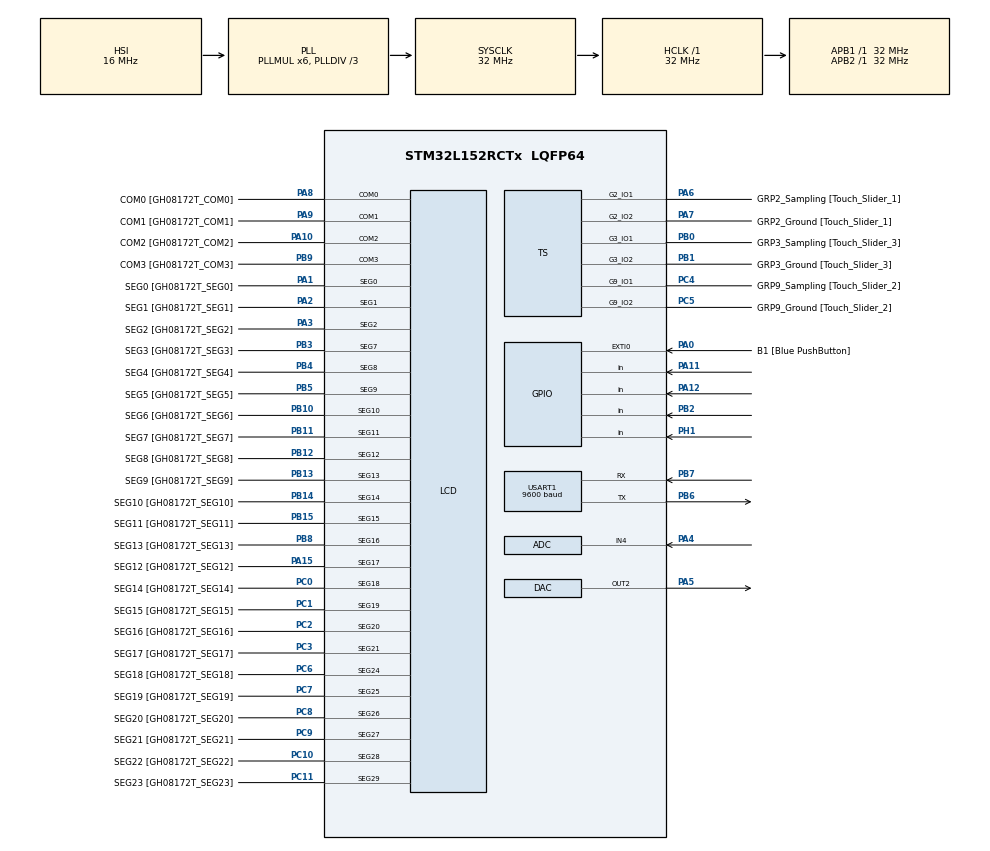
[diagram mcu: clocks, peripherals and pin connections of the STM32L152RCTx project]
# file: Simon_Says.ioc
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ADC.Channel-1\#ChannelRegularConversion=ADC_CHANNEL_4
ADC.NbrOfConversionFlag=1
ADC.Rank-1\#ChannelRegularConversion=1
ADC.SamplingTime-1\#ChannelRegularConversion=ADC_SAMPLETIME_4CYCLES
Mcu.Family=STM32L1
Mcu.Name=STM32L152RCTx
Mcu.Package=LQFP64
NVIC.PriorityGroup=NVIC_PRIORITYGROUP_0
PA0-WKUP1.GPIO_Label=B1 [Blue PushButton]
PA0-WKUP1.GPIO_ModeDefaultEXTI=GPIO_MODE_EVT_RISING
PA0-WKUP1.GPIO_PuPd=GPIO_NOPULL
PA0-WKUP1.Signal=GPXTI0
PA1.GPIO_Label=SEG0 [GH08172T_SEG0]
PA1.GPIO_Mode=GPIO_MODE_AF_PP
PA1.GPIO_PuPd=GPIO_NOPULL
PA1.GPIO_Speed=GPIO_SPEED_FREQ_LOW
PA1.Mode=SEG0
PA1.Signal=LCD_SEG0
PA10.GPIO_Label=COM2 [GH08172T_COM2]
PA10.GPIO_Mode=GPIO_MODE_AF_PP
PA10.GPIO_PuPd=GPIO_NOPULL
PA10.GPIO_Speed=GPIO_SPEED_FREQ_LOW
PA10.Mode=1/4 Duty Cycle
PA10.Signal=LCD_COM2
PA11.GPIO_PuPd=GPIO_PULLUP
PA11.Signal=GPIO_Input
PA12.GPIO_PuPd=GPIO_PULLUP
PA12.Signal=GPIO_Input
PA13.GPIO_Label=SWDIO
PA13.Mode=Serial_Wire
PA13.Signal=SYS_JTMS-SWDIO
PA14.GPIO_Label=SWCLK
PA14.Mode=Serial_Wire
PA14.Signal=SYS_JTCK-SWCLK
PA15.GPIO_Label=SEG12 [GH08172T_SEG12]
PA15.GPIO_Mode=GPIO_MODE_AF_PP
PA15.GPIO_PuPd=GPIO_NOPULL
PA15.GPIO_Speed=GPIO_SPEED_FREQ_LOW
PA15.Mode=SEG17
PA15.Signal=LCD_SEG17
PA2.GPIO_Label=SEG1 [GH08172T_SEG1]
PA2.GPIO_Mode=GPIO_MODE_AF_PP
PA2.GPIO_PuPd=GPIO_NOPULL
PA2.GPIO_Speed=GPIO_SPEED_FREQ_LOW
PA2.Mode=SEG1
PA2.Signal=LCD_SEG1
PA3.GPIO_Label=SEG2 [GH08172T_SEG2]
PA3.GPIO_Mode=GPIO_MODE_AF_PP
PA3.GPIO_PuPd=GPIO_NOPULL
PA3.GPIO_Speed=GPIO_SPEED_FREQ_LOW
PA3.Mode=SEG2
PA3.Signal=LCD_SEG2
PA4.Mode=IN4
PA4.Signal=ADC_IN4
PA5.Signal=COMP_DAC2_group
PA6.GPIO_Label=GRP2_Sampling [Touch_Slider_1]
PA6.Mode=G2_IO1-Sampling
PA6.Signal=TS_G2_IO1
PA7.GPIO_Label=GRP2_Ground [Touch_Slider_1]
PA7.Mode=G2_IO2-Channel
PA7.Signal=TS_G2_IO2
PA8.GPIO_Label=COM0 [GH08172T_COM0]
PA8.GPIO_Mode=GPIO_MODE_AF_PP
PA8.GPIO_PuPd=GPIO_NOPULL
PA8.GPIO_Speed=GPIO_SPEED_FREQ_LOW
PA8.Mode=1/4 Duty Cycle
PA8.Signal=LCD_COM0
PA9.GPIO_Label=COM1 [GH08172T_COM1]
PA9.GPIO_Mode=GPIO_MODE_AF_PP
PA9.GPIO_PuPd=GPIO_NOPULL
PA9.GPIO_Speed=GPIO_SPEED_FREQ_LOW
PA9.Mode=1/4 Duty Cycle
PA9.Signal=LCD_COM1
PB0.GPIO_Label=GRP3_Sampling [Touch_Slider_3]
PB0.Mode=G3_IO1-Sampling
PB0.Signal=TS_G3_IO1
PB1.GPIO_Label=GRP3_Ground [Touch_Slider_3]
PB1.Mode=G3_IO2-Channel
PB1.Signal=TS_G3_IO2
PB10.GPIO_Label=SEG6 [GH08172T_SEG6]
PB10.GPIO_Mode=GPIO_MODE_AF_PP
PB10.GPIO_PuPd=GPIO_NOPULL
PB10.GPIO_Speed=GPIO_SPEED_FREQ_LOW
PB10.Mode=SEG10
PB10.Signal=LCD_SEG10
PB11.GPIO_Label=SEG7 [GH08172T_SEG7]
PB11.GPIO_Mode=GPIO_MODE_AF_PP
PB11.GPIO_PuPd=GPIO_NOPULL
PB11.GPIO_Speed=GPIO_SPEED_FREQ_LOW
PB11.Mode=SEG11
PB11.Signal=LCD_SEG11
PB12.GPIO_Label=SEG8 [GH08172T_SEG8]
PB12.GPIO_Mode=GPIO_MODE_AF_PP
PB12.GPIO_PuPd=GPIO_NOPULL
PB12.GPIO_Speed=GPIO_SPEED_FREQ_LOW
PB12.Mode=SEG12
PB12.Signal=LCD_SEG12
PB13.GPIO_Label=SEG9 [GH08172T_SEG9]
PB13.GPIO_Mode=GPIO_MODE_AF_PP
PB13.GPIO_PuPd=GPIO_NOPULL
PB13.GPIO_Speed=GPIO_SPEED_FREQ_LOW
PB13.Mode=SEG13
PB13.Signal=LCD_SEG13
PB14.GPIO_Label=SEG10 [GH08172T_SEG10]
PB14.GPIO_Mode=GPIO_MODE_AF_PP
PB14.GPIO_PuPd=GPIO_NOPULL
PB14.GPIO_Speed=GPIO_SPEED_FREQ_LOW
PB14.Mode=SEG14
PB14.Signal=LCD_SEG14
PB15.GPIO_Label=SEG11 [GH08172T_SEG11]
PB15.GPIO_Mode=GPIO_MODE_AF_PP
PB15.GPIO_PuPd=GPIO_NOPULL
PB15.GPIO_Speed=GPIO_SPEED_FREQ_LOW
PB15.Mode=SEG15
PB15.Signal=LCD_SEG15
PB2.GPIO_PuPd=GPIO_PULLUP
PB2.Signal=GPIO_Input
PB3.GPIO_Label=SEG3 [GH08172T_SEG3]
PB3.GPIO_Mode=GPIO_MODE_AF_PP
PB3.GPIO_PuPd=GPIO_NOPULL
PB3.GPIO_Speed=GPIO_SPEED_FREQ_LOW
PB3.Mode=SEG7
PB3.Signal=LCD_SEG7
PB4.GPIO_Label=SEG4 [GH08172T_SEG4]
PB4.GPIO_Mode=GPIO_MODE_AF_PP
PB4.GPIO_PuPd=GPIO_NOPULL
PB4.GPIO_Speed=GPIO_SPEED_FREQ_LOW
PB4.Mode=SEG8
PB4.Signal=LCD_SEG8
PB5.GPIO_Label=SEG5 [GH08172T_SEG5]
PB5.GPIO_Mode=GPIO_MODE_AF_PP
PB5.GPIO_PuPd=GPIO_NOPULL
PB5.GPIO_Speed=GPIO_SPEED_FREQ_LOW
PB5.Mode=SEG9
PB5.Signal=LCD_SEG9
PB6.Mode=Asynchronous
PB6.Signal=USART1_TX
PB7.Mode=Asynchronous
PB7.Signal=USART1_RX
PB8.GPIO_Label=SEG13 [GH08172T_SEG13]
PB8.GPIO_Mode=GPIO_MODE_AF_PP
PB8.GPIO_PuPd=GPIO_NOPULL
PB8.GPIO_Speed=GPIO_SPEED_FREQ_LOW
PB8.Mode=SEG16
PB8.Signal=LCD_SEG16
PB9.GPIO_Label=COM3 [GH08172T_COM3]
PB9.GPIO_Mode=GPIO_MODE_AF_PP
PB9.GPIO_PuPd=GPIO_NOPULL
PB9.GPIO_Speed=GPIO_SPEED_FREQ_LOW
PB9.Mode=1/4 Duty Cycle
PB9.Signal=LCD_COM3
PC0.GPIO_Label=SEG14 [GH08172T_SEG14]
PC0.GPIO_Mode=GPIO_MODE_AF_PP
PC0.GPIO_PuPd=GPIO_NOPULL
PC0.GPIO_Speed=GPIO_SPEED_FREQ_LOW
PC0.Mode=SEG18
PC0.Signal=LCD_SEG18
PC1.GPIO_Label=SEG15 [GH08172T_SEG15]
PC1.GPIO_Mode=GPIO_MODE_AF_PP
PC1.GPIO_PuPd=GPIO_NOPULL
PC1.GPIO_Speed=GPIO_SPEED_FREQ_LOW
PC1.Mode=SEG19
PC1.Signal=LCD_SEG19
PC10.GPIO_Label=SEG22 [GH08172T_SEG22]
PC10.GPIO_Mode=GPIO_MODE_AF_PP
PC10.GPIO_PuPd=GPIO_NOPULL
PC10.GPIO_Speed=GPIO_SPEED_FREQ_LOW
PC10.Mode=SEG28
PC10.Signal=LCD_SEG28
PC11.GPIO_Label=SEG23 [GH08172T_SEG23]
PC11.GPIO_Mode=GPIO_MODE_AF_PP
PC11.GPIO_PuPd=GPIO_NOPULL
PC11.GPIO_Speed=GPIO_SPEED_FREQ_LOW
PC11.Mode=SEG29
PC11.Signal=LCD_SEG29
PC14-OSC32_IN.GPIO_Label=PC14-OSC32_IN
PC14-OSC32_IN.Mode=LSE-External-Oscillator
PC14-OSC32_IN.Signal=RCC_OSC32_IN
PC15-OSC32_OUT.GPIO_Label=PC15-OSC32_OUT
PC15-OSC32_OUT.Mode=LSE-External-Oscillator
PC15-OSC32_OUT.Signal=RCC_OSC32_OUT
PC2.GPIO_Label=SEG16 [GH08172T_SEG16]
PC2.GPIO_Mode=GPIO_MODE_AF_PP
PC2.GPIO_PuPd=GPIO_NOPULL
PC2.GPIO_Speed=GPIO_SPEED_FREQ_LOW
PC2.Mode=SEG20
PC2.Signal=LCD_SEG20
PC3.GPIO_Label=SEG17 [GH08172T_SEG17]
PC3.GPIO_Mode=GPIO_MODE_AF_PP
PC3.GPIO_PuPd=GPIO_NOPULL
PC3.GPIO_Speed=GPIO_SPEED_FREQ_LOW
PC3.Mode=SEG21
PC3.Signal=LCD_SEG21
PC4.GPIO_Label=GRP9_Sampling [Touch_Slider_2]
PC4.Mode=G9_IO1-Sampling
PC4.Signal=TS_G9_IO1
PC5.GPIO_Label=GRP9_Ground [Touch_Slider_2]
PC5.Mode=G9_IO2-Channel
PC5.Signal=TS_G9_IO2
PC6.GPIO_Label=SEG18 [GH08172T_SEG18]
PC6.GPIO_Mode=GPIO_MODE_AF_PP
PC6.GPIO_PuPd=GPIO_NOPULL
PC6.GPIO_Speed=GPIO_SPEED_FREQ_LOW
PC6.Mode=SEG24
PC6.Signal=LCD_SEG24
PC7.GPIO_Label=SEG19 [GH08172T_SEG19]
PC7.GPIO_Mode=GPIO_MODE_AF_PP
PC7.GPIO_PuPd=GPIO_NOPULL
PC7.GPIO_Speed=GPIO_SPEED_FREQ_LOW
PC7.Mode=SEG25
PC7.Signal=LCD_SEG25
PC8.GPIO_Label=SEG20 [GH08172T_SEG20]
PC8.GPIO_Mode=GPIO_MODE_AF_PP
PC8.GPIO_PuPd=GPIO_NOPULL
PC8.GPIO_Speed=GPIO_SPEED_FREQ_LOW
PC8.Mode=SEG26
PC8.Signal=LCD_SEG26
PC9.GPIO_Label=SEG21 [GH08172T_SEG21]
PC9.GPIO_Mode=GPIO_MODE_AF_PP
PC9.GPIO_PuPd=GPIO_NOPULL
PC9.GPIO_Speed=GPIO_SPEED_FREQ_LOW
PC9.Mode=SEG27
PC9.Signal=LCD_SEG27
PH1-OSC_OUT.GPIO_Mode=GPIO_MODE_INPUT
PH1-OSC_OUT.GPIO_PuPd=GPIO_PULLUP
PH1-OSC_OUT.Signal=GPIO_Input
ProjectManager.HeapSize=0x200
ProjectManager.StackSize=0x400
ProjectManager.TargetToolchain=STM32CubeIDE
RCC.48MHZClocksFreq_Value=48000000
RCC.AHBFreq_Value=32000000
RCC.APB1Freq_Value=32000000
RCC.APB1TimFreq_Value=32000000
RCC.APB2Freq_Value=32000000
RCC.APB2TimFreq_Value=32000000
RCC.HCLKFreq_Value=32000000
RCC.HSE_VALUE=8000000
RCC.HSI_VALUE=16000000
RCC.MSI_VALUE=2097000
RCC.PLLDIV=RCC_PLL_DIV3
RCC.PLLMUL=RCC_PLL_MUL6
RCC.RTCClockSelectionVirtual=RCC_RTCCLKSOURCE_LSE
RCC.SYSCLKFreq_VALUE=32000000
RCC.SYSCLKSource=RCC_SYSCLKSOURCE_PLLCLK
RCC.USBOutput=48000000
RCC.VCOOutputFreq_Value=96000000
SH.COMP_DAC2_group.0=DAC_OUT2,DAC_OUT2
USART1.BaudRate=9600
USART1.VirtualMode=VM_ASYNC
VP_TIM2_VS_ClockSourceINT.Mode=Internal
VP_TIM3_VS_ClockSourceINT.Mode=Internal
VP_TIM4_VS_ClockSourceINT.Mode=Internal
board=STM32L152C-DISCO

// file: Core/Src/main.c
/* USER CODE BEGIN Header */
/**
  ******************************************************************************
  * @file           : main.c
  * @brief          : Main program body
  ******************************************************************************
  * @attention
  *
  * <h2><center>&copy; Copyright (c) 2021 STMicroelectronics.
  * All rights reserved.</center></h2>
  *
  * This software component is licensed by ST under BSD 3-Clause license,
  * the "License"; You may not use this file except in compliance with the
  * License. You may obtain a copy of the License at:
  *                        opensource.org/licenses/BSD-3-Clause
  *
  ******************************************************************************
  */
/* USER CODE END Header */
#include "main.h"

/* USER CODE BEGIN Includes */

#include "stm32l152c_discovery.h"
#include "stm32l152c_discovery_glass_lcd.h"

/* USER CODE END Includes */

ADC_HandleTypeDef hadc;

DAC_HandleTypeDef hdac;

LCD_HandleTypeDef hlcd;

TIM_HandleTypeDef htim2;
TIM_HandleTypeDef htim3;
TIM_HandleTypeDef htim4;

UART_HandleTypeDef huart1;

/* USER CODE BEGIN PV */

//Calculate the periods of the notes with 1/f, f being the frequency given in the guide :

#define DO 382
#define RE 341
#define MI 304
#define FA 286

#define CORRECTO 100
#define INCORRECTO 1000

unsigned short tiempo = 500; //The time we want each digit of the displayed sequence to last //500, meaning 0.5 seconds
unsigned short secuencia=0;//To control the ISR of TIM4
unsigned short seno[16] = {2048,2831,3495,3939,4095,3939,3495,2831,2048,1264,600,156,0,156,600,1264}; //The sine signal for the DAC
//The values of the sine array where from https://www.daycounter.com/Calculators/Sine-Generator-Calculator.phtml
int i = 0; //To go through the sine signal

/* USER CODE END PV */

void SystemClock_Config(void);
static void MX_GPIO_Init(void);
static void MX_ADC_Init(void);
static void MX_LCD_Init(void);
static void MX_TS_Init(void);
static void MX_TIM2_Init(void);
static void MX_TIM4_Init(void);
static void MX_TIM3_Init(void);
static void MX_USART1_UART_Init(void);
static void MX_DAC_Init(void);

/* USER CODE BEGIN 0 */

void TIM4_IRQHandler(void) {
	if ((TIM4->SR & 0x0002)!=0){ // If the comparison is successful, then the IRQ is launched and this ISR is executed.
		secuencia++; // Increase in 1 the sequence
		TIM4->CCR1 += tiempo;	// Update the comparison value, adding 500 steps = 0.5 seconds
		TIM4->SR = 0x0000;	// Clear all flags
	}
}

void TIM3_IRQHandler(void){
  if((TIM3->SR & 0x0002 )!=0) // If the comparison is successful, then the IRQ is launched and this ISR is executed.
    {
      TIM3->SR=0; // Clear all flags
      if(i<16){ //We go over the sine array and get it through the DAC
        DAC->DHR12R2  = seno[i];
        i++;
      }
      if(i ==16) {
        i=0;
      }
    }
}

//this is a function to wait the given time, we use it to delay some operation in order to give the board time to "catch up"
//we also use it to display the win/wrong the time we want as well as the level we are in
void espera(int tiempo) {
	int i;
	for (i=0; i<tiempo; i++);
}

/* USER CODE END 0 */

int main(void)
{

  /* MCU Configuration--------------------------------------------------------*/

  /* Reset of all peripherals, Initializes the Flash interface and the Systick. */
  HAL_Init();

  /* Configure the system clock */
  SystemClock_Config();

  /* Initialize all configured peripherals */
  MX_GPIO_Init();
  MX_ADC_Init();
  MX_LCD_Init();
  MX_TS_Init();
  MX_TIM2_Init();
  MX_TIM4_Init();
  MX_TIM3_Init();
  MX_USART1_UART_Init();
  MX_DAC_Init();
  /* USER CODE BEGIN 2 */

  //Variables

  unsigned short value; //Stores the value read from the potentiometer
  unsigned short level = 0; //Stores the level of difficulty we are playing depending on "value"
  unsigned short display[6]; //Stores the sequence we create using the random function. It's of length 6 because that's the longer sequence possible
  int num_display = 0; //Stores the number of time we've reproduced the sequence
  int num_items = 0; //Manages how many items of the sequence we reproduce each time, to reproduce the sequence gradually
  unsigned char secuencia_ant = 0; //Helps manage the timer 4
  unsigned short current_display; //Stores the item of "display" we are displaying currently
  unsigned short num_buttons_press = 0; //Stores how many buttons have been pressed
  int incorrect; //Stores if the player press the wrong button
  char USART_display[72] = "\rGAMES PLAYED: 00 | PLAYS WON: 00 | PLAYS LOSE: 00 | PLAYS ABANDONED: 00"; //To display the USAR info
  char abandon = '0';//Is set to '1' when a game is started and only change to '0' if the player loses or wins
  char game_ant; //Stores the value of each of the game variables before being update in order to be able to count up to 99 and not just 9, due to ASCII

  BSP_LCD_GLASS_Init();
  BSP_LCD_GLASS_BarLevelConfig(0);
  BSP_LCD_GLASS_Clear();

  // USER button configuration (PA0)
  // PA0 as digital input(00)
  GPIOA->MODER &= ~(1 << (0*2 +1));
  GPIOA->MODER &= ~(1 << (0*2));

  // button1 configuration (PA11)
  // PA11 as digital input(00) with pull-up
  GPIOA->MODER &= ~(1 << (11*2 +1));
  GPIOA->MODER &= ~(1 << (11*2));

  // button2 configuration (PA12)
  // PA12 as digital input(00) with pull-up
  GPIOA->MODER &= ~(1 << (12*2 +1));
  GPIOA->MODER &= ~(1 << (12*2));

  // button3 configuration (PB2)
  // PB2 as digital input(00) with pull-up
  GPIOB->MODER &= ~(1 << (2*2 +1));
  GPIOB->MODER &= ~(1 << (2*2));

  // button4 configuration (PH1)
  //PH1 as digital input(00) with pull-up
  GPIOB->MODER &= ~(1 << (1*2 +1));
  GPIOB->MODER &= ~(1 << (1*2));

  // ADC configuration
  GPIOA->MODER |= 0x00000300;	// PA4 as analog
  ADC1->CR2 &= ~(0x00000001);	// ADON = 0 (ADC powered off)
  ADC1->CR1 = 0x00000000;	// OVRIE = 0 (Overrun IRQ disabled)
  // RES = 00 (resolution = 12 bits)
  // SCAN = 0 (scan mode disabled)
  // EOCIE = 0 (EOC IRQ disabled)
  ADC1->CR2 = 0x00000400;	// EOCS = 1 (EOC to be activated after each conversion)
  // DELS = 000 (no delay)
  // CONT = 0 (single conversion)
  ADC1->SQR1 = 0x00000000;	// 1 channel in the sequence
  ADC1->SQR5 = 0x00000004;	// Channel is AIN4
  ADC1->CR2 |= 0x00000001;	// ADON = 1 (ADC powered on)

  // TIM4 configuration, this one is to display the sequence 0.5 seconds
  TIM4->CR1 = 0x0000; // ARPE = 0 -> No PWM, it is TOC
  // CEN = 0; Counter OFF
  TIM4->CR2 = 0x0000; // Always "0" in this course
  TIM4->SMCR = 0x0000; // Always "0" in this course
  // Counter behaviour setting: PSC, CNT, ARR and CCRx
  TIM4->PSC = 31999;	// Pre-scaler=32000 -> F_counter=32000000/32000 = 1000 steps/second
  TIM4->CNT = 0;	// Initialize the counter to 0
  TIM4->ARR = 0xFFFF; // Recommended value = FFFF
  TIM4->CCR1 = tiempo;	// Record that stores the value for the comparison.
  // It is initialized to the first value = 500 steps = 0.5 seconds
  // Selecting IRQ or not: DIER
  TIM4->DIER = 0x0002; // An IRQ is generated as the comparison is successful -> CCyIE = 1
  //Output
  TIM4->CCMR1 = 0x0000; // CCyS = 0	(TOC)
  // OCyM = 000 (no external output)
  // OCyPE = 0 (no pre-load)
  TIM4->CCER = 0x0000;	// CCyP = 0	(always in TOC)
  // CCyE = 0	(external output disabled)
  // Counter enabling
  TIM4->CR1 |= 0x0001;	// CEN = 1 -> Start counter
  TIM4->EGR |= 0x0001;	// UG = 1 -> Generate an update event to update all registers
  TIM4->SR = 0;	// Clear counter flags
  // Enabling TIM4_IRQ at NVIC (position 30).
  NVIC->ISER[0] |= (1 << 30);

  /*//Configuration of TIM2: SOUNDS WITHOUT DAC

  //TIM2 configuration
  GPIOA->MODER &= ~(0x00000400);	//PA5 set to 0
  GPIOA->AFR[0] |=0x00100000; //PA5 as TIM2 (AF1-0001)
  TIM2->CR1 = 0x0080;  // ARPE = 0 -> Is TOC
  // CEN = 0; Counter off
  TIM2->CR2 = 0x0000;
  TIM2->SMCR = 0x0000;
  TIM2->PSC = 319; // Pre-scalated= 320 (PSC = Pre-scalated - 1)
  //-> F_conunter = 32000000/320 = 100000 steps/seconds
  TIM2->CNT = 0; // Initialize the value of the counter to 0
  TIM2->ARR = 383;//FFFF, highest note DO =382
  TIM2->CCR1 = 191;// ARR/2
  TIM2->DIER = 0x0000;
  TIM2->CCMR1 = 0x0068; // CCyS = 0 (TOC, PWM)
  TIM2->CCER = 0x0001;
  TIM2->EGR |= 0x0001;
  TIM2->SR = 0; 		// Clear all flags
*/

  // DAC Configuration
  GPIOA->MODER |= 0x00000C00;       // PA5 as analogsignal
  DAC->CR = 0x00010000;             // Configuration and enabling of DAC number 2

  //This one is for the DAC signal
  TIM3->CR1 = 0x0000;  // ARPE = 0 -> Is TOC
  // CEN = 0; Counter off
  TIM3->CR2 = 0x0000;
  TIM3->SMCR = 0x0000;
  TIM3->PSC = 319; // Pre-scalated= 320 (PSC = Pre-scalated - 1)
  //-> F_conunter = 32000000/320 = 100000 steps/seconds
  TIM3->CNT = 0; // Initialize the value of the counter to 0
  TIM3->ARR = 0xFFFF;//FFFF
  TIM3->DIER = 0x0001;
  TIM3->CCMR1 = 0x0068; // CCyS = 0 (TOC, PWM)
  TIM3->CCER = 0x0001;
  TIM3->EGR |= 0x0001;
  TIM3->SR = 0;     // Clear all flags
  NVIC->ISER[0] |= (1<<29);

  /* USER CODE END 2 */

  /* Infinite loop */
  /* USER CODE BEGIN WHILE */
  while (1){

    //While the board is on, if we press any of the color buttons its sound is reproduced and its color is displayed in the LCD
    //Until we press the USER that starts the game
    //This is done in case the player wants to familiarize with the sounds/buttons

/*//To reproduce without DAC
	  if ((GPIOA->IDR&0x0800)==0) { // If PA11 = 0 (button1 pressed)
		  BSP_LCD_GLASS_Clear();
		  BSP_LCD_GLASS_DisplayString((uint8_t *)" WHITE");
		  TIM2->ARR = MI;
		  TIM2->CCR1 = MI/2;
		  TIM2->CR1 |= 0x0001;
		  while ((GPIOA->IDR&0x0800)==0) { }
		  TIM2->SR = 0; // Clear all flags
		  TIM2->CR1 &=~ (0x0001);// CEN = 0 -> Deactivate the counter
		  TIM2->CNT = 0; // Set the value of the counter to 0
		  BSP_LCD_GLASS_Clear();
	  }
	  if ((GPIOA->IDR&0x1000)==0) { // If PA12 = 0 (button2 pressed)
		  BSP_LCD_GLASS_Clear();
		  BSP_LCD_GLASS_DisplayString((uint8_t *)" GREEN");
		  TIM2->ARR = FA;
		  TIM2->CCR1 = FA/2;
		  TIM2->CR1 |= 0x0001;
		  while ((GPIOA->IDR&0x1000)==0) { }
		  TIM2->SR = 0; // Clear all flags
		  TIM2->CR1 &=~ (0x0001); // CEN = 0 -> Deactivate the counter
		  TIM2->CNT = 0; // Set the value of the counter to 0
		  BSP_LCD_GLASS_Clear();
	 }
	 if ((GPIOB->IDR&0x0004)==0) { // If PB2 = 0 (button3 pressed)
	    BSP_LCD_GLASS_Clear();
	    BSP_LCD_GLASS_DisplayString((uint8_t *)" BLUE");
	    TIM2->ARR = RE;
	    TIM2->CCR1 = RE/2;
	    TIM2->CR1 |= 0x0001;
	    while ((GPIOB->IDR&0x0004)==0) { }
	    TIM2->SR = 0; // Clear all flags
	    TIM2->CR1 &=~ (0x0001);// CEN = 0 -> Deactivate the counter
	    TIM2->CNT = 0; // Set the value of the counter to 0
	    BSP_LCD_GLASS_Clear();
	 }
	 if ((GPIOH->IDR&0x0002)==0) { // If PH1 = 0 (button4 pressed)
	    BSP_LCD_GLASS_Clear();
	    BSP_LCD_GLASS_DisplayString((uint8_t *)" RED");
	    TIM2->ARR = DO;
	    TIM2->CCR1 = DO/2;
	    TIM2->CR1 |= 0x0001;
	    while ((GPIOH->IDR&0x0002)==0) { }
	    TIM2->SR = 0; // Clear all flags
	    TIM2->CR1 &=~ (0x0001);// CEN = 0 -> Deactivate the counter
	    TIM2->CNT = 0; // Set the value of the counter to 0
	    BSP_LCD_GLASS_Clear();
	 }
*/

    if ((GPIOA->IDR&0x0800)==0) { // If PA11 = 0 (button1 pressed)
      BSP_LCD_GLASS_Clear();
      BSP_LCD_GLASS_DisplayString((uint8_t *)" WHITE");
      TIM3->ARR = MI/16;
      TIM3->CR1 |= 0x0001;
      TIM3->SR=1;
      while ((GPIOA->IDR&0x0800)==0) { }
      TIM3->SR = 0; // Clear all flags
      TIM3->CR1 &=~ (0x0001);// CEN = 0 -> Deactivate the counter
      TIM3->CNT = 0; // Set the value of the counter to 0
      BSP_LCD_GLASS_Clear();
    }
    if ((GPIOA->IDR&0x1000)==0) { // If PA12 = 0 (button2 pressed)
      BSP_LCD_GLASS_Clear();
      BSP_LCD_GLASS_DisplayString((uint8_t *)" GREEN");
      TIM3->ARR = FA/16;
      TIM3->CR1 |= 0x0001;
      TIM3->SR=1;
      while ((GPIOA->IDR&0x1000)==0) { }
      TIM3->SR = 0; // Clear all flags
      TIM3->CR1 &=~ (0x0001); // CEN = 0 -> Deactivate the counter
      TIM3->CNT = 0; // Set the value of the counter to 0
      BSP_LCD_GLASS_Clear();
   }
   if ((GPIOB->IDR&0x0004)==0) { // If PB2 = 0 (button3 pressed)
      BSP_LCD_GLASS_Clear();
      BSP_LCD_GLASS_DisplayString((uint8_t *)" BLUE");
      TIM3->ARR = RE/16;
      TIM3->CR1 |= 0x0001;
      TIM3->SR=1;
      while ((GPIOB->IDR&0x0004)==0) { }
      TIM3->SR = 0; // Clear all flags
      TIM3->CR1 &=~ (0x0001);// CEN = 0 -> Deactivate the counter
      TIM3->CNT = 0; // Set the value of the counter to 0
      BSP_LCD_GLASS_Clear();
   }
   if ((GPIOH->IDR&0x0002)==0) { // If PH1 = 0 (button4 pressed)
      BSP_LCD_GLASS_Clear();
      BSP_LCD_GLASS_DisplayString((uint8_t *)" RED");
      TIM3->ARR = DO/16;
      TIM3->CR1 |= 0x0001;
      TIM3->SR=1;
      while ((GPIOH->IDR&0x0002)==0) { }
      TIM3->SR = 0; // Clear all flags
      TIM3->CR1 &=~ (0x0001);// CEN = 0 -> Deactivate the counter
      TIM3->CNT = 0; // Set the value of the counter to 0
      BSP_LCD_GLASS_Clear();
   }

	 //Once we press the USER button, the game really starts

	 if ((GPIOA->IDR&0x00000001)!=0) { // If PA0 = 1 (USER pressed)
	   //First of all, we configure the USART transmission. The maximum number it stores is 99
	   //We update the number of times the player has played, with an if-else sentence to be able to get numbers up to 99
	   game_ant = USART_display[16];
	   if(game_ant == '9'){
	     USART_display[15]++;
	     USART_display[16]='0';
	   }
	   else{
	     USART_display[16]++;
	   }
	   //We update the number of times the player has played
	   game_ant = USART_display[71];
	   if(abandon == '1'){ //If abandon didn't change from '1', it means the player didn't finish the game
	     if(game_ant == '9'){
	       USART_display[70]++;
	       USART_display[71]='0';
	     }
	     else{
	       USART_display[71]++;
	     }
	   }
	   HAL_UART_Transmit(&huart1, (uint8_t*)USART_display, 72, 10000);//We transmit the updated info

	   //Then, we read from the value of the potentiometer and store it in the variable value
	    while ((GPIOA->IDR&0x00000001)!=0) { // If PA0 = 1 (USER pressed),
	     //We wait to avoid rebounds
	     espera(70000);
	    }
		  // Start conversion
		  while ((ADC1->SR&0x0040)==0); // While ADONS = 0, i.e., ADC is not ready
		  // to convert, I wait
		  ADC1->CR2 |= 0x40000000; // When ADONS = 1, I start conversion (SWSTART = 1)
		  // Wait till conversion is finished
		  while ((ADC1->SR&0x0002)==0); // If EOC = 0, i.e., the conversion is not finished, I wait
		  value = ADC1->DR; // When EOC = 1, I take the result and store it in a variable called value

		  //Depending on the value of said variable, the player will chose the level (that varies the sequence duration)
		  if (value>3069 && value<=4100){ //If it has a value between 4100 (its maximum more or less, as the potentiometer value are very unstable we rounded the number to avoid errors) and 3070,
		                                  //the chosen level is 1, meaning the sequence is 3 items long
			 level = 3;
			 BSP_LCD_GLASS_Clear();
			 BSP_LCD_GLASS_DisplayString((uint8_t *)" LV 1"); //The LCD displays the level for 0.5 seconds
			 espera(2500000);
			 BSP_LCD_GLASS_Clear();
		  }
		  if (value>2046 && value<=3069){ //If it has a value between 3069 and 2047 the chosen level is 2, meaning the sequence will be 4 items long
		   level = 4;
		   BSP_LCD_GLASS_Clear();
			 BSP_LCD_GLASS_DisplayString((uint8_t *)" LV 2");
			 espera(2500000);
			 BSP_LCD_GLASS_Clear();
		  }
		  if (value>1023 && value<=2046){ //If it has a value between 2046 and 1024 the chosen level is 3, meaning the sequence will be 5 items long
		   level = 5;
		   BSP_LCD_GLASS_Clear();
			 BSP_LCD_GLASS_DisplayString((uint8_t *)" LV 3");
			 espera(2500000);
			 BSP_LCD_GLASS_Clear();
		  }
		  if (value>=0000 && value<=1023){ //If it has a value between 1024 and 0 the chosen level is 4, meaning the sequence will be 6 items long
			 level = 6;
			 BSP_LCD_GLASS_Clear();
			 BSP_LCD_GLASS_DisplayString((uint8_t *)" LV 4");
			 espera(2500000);
			 BSP_LCD_GLASS_Clear();
		  }

		  //Each time USER is pressed we re-initialize the variables that manage the game:
		  num_display = 0;
		  num_items = 0;
		  incorrect = 0;
		  abandon = '1';
	  }

	  //Generate random numbers between 0 and 3, to store in an array
	  //The array will be as long as the sequence we chose (read from the potentiometer), although it's default value is 6 (the longest possible sequence)
	  for(int j=0; j<level;j++){
		  unsigned short sequence = rand() % 4;
		  display[j]=sequence;
	  }

	  //Now this is the code of the game itself after we've selected and displayed the value

	  while(num_display<level && (GPIOA->IDR&0x00000001)==0){ //This is executed until the whole sequence has been reproduced, or until we press the user button to re-initialize the game
		  while(num_items<num_display+1){ //With this while we reproduce the sequence gradually, first the item 1, and i we press the correct button then item 1 + the next, if we press the correct buttons,
		                          //the previous items plus one more are reproduced, and so on until we press a wrong button or the sequence is complete
			  if (secuencia_ant != secuencia) {	// If the ISR has changed the sequence
				  secuencia_ant = secuencia;	// Store new sequence to be used next time
				  current_display=display[num_items]; //We store in current display the item we want to reproduce and we go upgrading it each time the button(s) are pressed correctly
				  num_buttons_press = 0; //We re-set the number of buttons pressed to 0
				  //Now for each of the random values we reproduce it's sound and display it's color
				  if(current_display == 0){
					  TIM3->ARR = MI/16;
					  TIM3->CR1 |= 0x0001;
					  TIM3->SR=1;
					  BSP_LCD_GLASS_Clear();
					  BSP_LCD_GLASS_DisplayString((uint8_t *)" WHITE");
				  }
				  if(current_display == 1){
					  TIM3->ARR = FA/16;
					  TIM3->CR1 |= 0x0001;
					  TIM3->SR=1;
					  BSP_LCD_GLASS_Clear();
					  BSP_LCD_GLASS_DisplayString((uint8_t *)" GREEN");
				  }
				  if(current_display == 2){
					  TIM3->ARR = RE/16;
					  TIM3->CR1 |= 0x0001;
					  TIM3->SR=1;
					  BSP_LCD_GLASS_Clear();
					  BSP_LCD_GLASS_DisplayString((uint8_t *)" BLUE");
				  }
				  if(current_display == 3){
					  TIM3->ARR = DO/16;
					  TIM3->CR1 |= 0x0001;
					  TIM3->SR=1;
					  BSP_LCD_GLASS_Clear();
					  BSP_LCD_GLASS_DisplayString((uint8_t *)" RED");
				  }
				  TIM3->SR = 0;// Clear all flags
				  TIM3->CR1 &=~ (0x0001);// CEN = 0 -> Deactivate the counter
				  TIM3->CNT = 0; // Set the value of the counter to 0
				  if (num_items==num_display){//To clean the LCD once we've displayed the last digit of the sequence
					  espera(1250000); //We wait (only 0.25s) because if not the last digit isn't displayed quite well
					  BSP_LCD_GLASS_Clear();
				  }
				  num_items++;
			  }//End of if that manages the timer
		  }//End of while that reproduces gradually the sequence

		  //Now, for each button pressed we display its sound and color, for as long as the button is pressed
		  //We also upgrade the number of buttons pressed each time one is
		  //We check if with the array that stores the sequence if the button pressed is correct, if it is not we upgrade the "incorrect" variable

		  if ((GPIOA->IDR&0x0800)==0) { // If PA11 = 0 (button1 pressed)
			  BSP_LCD_GLASS_Clear();
			  BSP_LCD_GLASS_DisplayString((uint8_t *)" WHITE");
			  TIM3->ARR = MI/16;
			  TIM3->CR1 |= 0x0001;
			  TIM3->SR=1;
			  while ((GPIOA->IDR&0x0800)==0) { }
			  TIM3->SR = 0; // Clear all flags
			  TIM3->CR1 &=~ (0x0001);// CEN = 0 -> Deactivate the counter
			  TIM3->CNT = 0; // Set the value of the counter to 0
			  BSP_LCD_GLASS_Clear();
			  num_buttons_press += 1;
		  	  if (0 != display[num_buttons_press-1]){
		  		  incorrect += 1;
		  	  }
		  }
		  if ((GPIOA->IDR&0x1000)==0) { // If PA12 = 0 (button2 pressed)
			  BSP_LCD_GLASS_Clear();
			  BSP_LCD_GLASS_DisplayString((uint8_t *)" GREEN");
			  TIM3->ARR = FA/16;
			  TIM3->CR1 |= 0x0001;
			  TIM3->SR=1;
			  while ((GPIOA->IDR&0x1000)==0) { }
			  TIM3->SR = 0; // Clear all flags
			  TIM3->CR1 &=~ (0x0001);// CEN = 0 -> Deactivate the counter
			  TIM3->CNT = 0; // Set the value of the counter to 0
			  BSP_LCD_GLASS_Clear();
			  num_buttons_press += 1;
		  	  if (1 != display[num_buttons_press-1]){
		  		  incorrect += 1;
		  	  }
		  }
		  if ((GPIOB->IDR&0x0004)==0) { // If PB2 = 0 (button3 pressed)
		    BSP_LCD_GLASS_Clear();
		    BSP_LCD_GLASS_DisplayString((uint8_t *)" BLUE");
		    TIM3->ARR = RE/16;
		    TIM3->CR1 |= 0x0001;
		    TIM3->SR=1;
		    while ((GPIOB->IDR&0x0004)==0) { }
			  TIM3->SR = 0; // Clear all flags
			  TIM3->CR1 &=~ (0x0001);// CEN = 0 -> Deactivate the counter
			  TIM3->CNT = 0; // Set the value of the counter to 0
			  BSP_LCD_GLASS_Clear();
			  num_buttons_press += 1;
			  if (2 != display[num_buttons_press-1]){
			    incorrect += 1;
			  }
		  }
		  if ((GPIOH->IDR&0x0002)==0) { // If PH1 = 0 (button4 pressed)
		  	 BSP_LCD_GLASS_Clear();
		  	 BSP_LCD_GLASS_DisplayString((uint8_t *)" RED");
		  	 TIM3->ARR = DO/16;
		  	 TIM3->CR1 |= 0x0001;
		  	 TIM3->SR=1;
		  	 while ((GPIOH->IDR&0x0002)==0) { }
		  	 TIM3->SR = 0; // Clear all flags
		  	 TIM3->CR1 &=~ (0x0001);// CEN = 0 -> Deactivate the counter
		  	 TIM3->CNT = 0; // Set the value of the counter to 0
		  	 BSP_LCD_GLASS_Clear();
		  	 num_buttons_press += 1;
		  	if (3 != display[num_buttons_press-1]){
		  		incorrect += 1;
		  	}
		  }

		  //If the incorrect variable is different from 0, it means that the player pressed a wrong button, and so immediately the word "WRONG" will be displayed along with a sound, for 0.5 seconds
		  //and the game will finish until we press USER again to start a new one
		  //we also change "abandon" to '0', meaning we finished the game, we also increment "lose"

		  if (incorrect != 0){
		    BSP_LCD_GLASS_Clear();
			  BSP_LCD_GLASS_DisplayString((uint8_t *)" WRONG");
			  TIM3->ARR = INCORRECTO/16;
			  TIM3->CR1 |= 0x0001;
			  TIM3->SR=1;
		 	  espera(2500000);
		 	  TIM3->SR = 0; // Clear all flags
			  TIM3->CR1 &=~ (0x0001);// CEN = 0 -> Deactivate the counter
			  TIM3->CNT = 0; // Set the value of the counter to 0
			  BSP_LCD_GLASS_Clear();
			  num_display = level;
			  abandon = '0';
			  //We update the number of times the player has lose, we use an if-else to be able to count up to 99
			  game_ant = USART_display[49];
			  if(game_ant == '9'){
			    USART_display[48]++;
			    USART_display[49]='0';
			  }
			  else{
			    USART_display[49]++;
			  }
			  HAL_UART_Transmit(&huart1, (uint8_t*)USART_display, 62, 10000);//We transmit the updated info
		  }

		  //If the number of buttons pressed is the same as the number of displayed items, and the "incorrect" variable is 0, meaning all the buttons pressed were right
		  //we re-set to 0 the variable "t" that manages the while that reproduce the sequence gradually, we increment the number of displays we've made, we re-set the clock
		  //We way 0.2 seconds in order to be clear for the player that we are re-reproducing the sequence + 1 item (or that the player has win)
		  //We've added this "espera" because, if not, the next display will be too close to the release of the button and it wasn't very user-friendly

		  if (num_buttons_press == num_display+1 && num_buttons_press!=0){
			  if(incorrect == 0){
				  num_items=0;
				  num_display+=1;
				  secuencia = 0;
				  espera(1000000);

				  //If have displayed the whole sequence and there is no errors, the word "WIN" is displayed along with a sound for 0.5 seconds
				  //and the game finishes until USER button is pressed to start another one
				  //we also change "abandon" to '0', meaning we finished the game, we also increment "win"

				  if (num_display == level){

					  TIM3->ARR = CORRECTO/16;
					  TIM3->CR1 |= 0x0001;
					  TIM3->SR=1;
					  BSP_LCD_GLASS_Clear();
					  BSP_LCD_GLASS_DisplayString((uint8_t *)" WIN");
					  espera(1000000);
					  TIM3->SR = 0; // Clear all flags
					  TIM3->CR1 &=~ (0x0001);// CEN = 0 -> Deactivate the counter
					  TIM3->CNT = 0; // Set the value of the counter to 0
					  espera(1000000);
					  TIM3->ARR = CORRECTO/16;
					  TIM3->CR1 |= 0x0001;
					  TIM3->SR=1;
					  espera(1000000);
					  TIM3->SR = 0; // Clear all flags
					  TIM3->CR1 &=~ (0x0001);// CEN = 0 -> Deactivate the counter
					  TIM3->CNT = 0; // Set the value of the counter to 0
					  BSP_LCD_GLASS_Clear();
					  abandon = '0';
					  //We update the number of times the player has win and use an if-else to be able to count up to 99
				     game_ant = USART_display[32];
				     if(game_ant == '9'){
				       USART_display[31]++;
				       USART_display[32]='0';
				     }
				     else{
				       USART_display[32]++;
				     }
					  HAL_UART_Transmit(&huart1, (uint8_t*)USART_display, 62, 10000);//We transmit the updated info
				  }
			  }
		  }//close if to check the pressed sequence
	  }//close game function while

    /* USER CODE END WHILE */

  }
}

void SystemClock_Config(void)
{
  RCC_OscInitTypeDef RCC_OscInitStruct = {0};
  RCC_ClkInitTypeDef RCC_ClkInitStruct = {0};
  RCC_PeriphCLKInitTypeDef PeriphClkInit = {0};

  /** Configure the main internal regulator output voltage
  */
  __HAL_PWR_VOLTAGESCALING_CONFIG(PWR_REGULATOR_VOLTAGE_SCALE1);
  /** Initializes the RCC Oscillators according to the specified parameters
  * in the RCC_OscInitTypeDef structure.
  */
  RCC_OscInitStruct.OscillatorType = RCC_OSCILLATORTYPE_HSI|RCC_OSCILLATORTYPE_LSE;
  RCC_OscInitStruct.LSEState = RCC_LSE_ON;
  RCC_OscInitStruct.HSIState = RCC_HSI_ON;
  RCC_OscInitStruct.HSICalibrationValue = RCC_HSICALIBRATION_DEFAULT;
  RCC_OscInitStruct.PLL.PLLState = RCC_PLL_ON;
  RCC_OscInitStruct.PLL.PLLSource = RCC_PLLSOURCE_HSI;
  RCC_OscInitStruct.PLL.PLLMUL = RCC_PLL_MUL6;
  RCC_OscInitStruct.PLL.PLLDIV = RCC_PLL_DIV3;
  if (HAL_RCC_OscConfig(&RCC_OscInitStruct) != HAL_OK)
  {
    Error_Handler();
  }
  /** Initializes the CPU, AHB and APB buses clocks
  */
  RCC_ClkInitStruct.ClockType = RCC_CLOCKTYPE_HCLK|RCC_CLOCKTYPE_SYSCLK
                              |RCC_CLOCKTYPE_PCLK1|RCC_CLOCKTYPE_PCLK2;
  RCC_ClkInitStruct.SYSCLKSource = RCC_SYSCLKSOURCE_PLLCLK;
  RCC_ClkInitStruct.AHBCLKDivider = RCC_SYSCLK_DIV1;
  RCC_ClkInitStruct.APB1CLKDivider = RCC_HCLK_DIV1;
  RCC_ClkInitStruct.APB2CLKDivider = RCC_HCLK_DIV1;

  if (HAL_RCC_ClockConfig(&RCC_ClkInitStruct, FLASH_LATENCY_1) != HAL_OK)
  {
    Error_Handler();
  }
  PeriphClkInit.PeriphClockSelection = RCC_PERIPHCLK_LCD;
  PeriphClkInit.LCDClockSelection = RCC_RTCCLKSOURCE_LSE;

  if (HAL_RCCEx_PeriphCLKConfig(&PeriphClkInit) != HAL_OK)
  {
    Error_Handler();
  }
}

static void MX_ADC_Init(void)
{

  ADC_ChannelConfTypeDef sConfig = {0};

  /** Configure the global features of the ADC (Clock, Resolution, Data Alignment and number of conversion)
  */
  hadc.Instance = ADC1;
  hadc.Init.ClockPrescaler = ADC_CLOCK_ASYNC_DIV1;
  hadc.Init.Resolution = ADC_RESOLUTION_12B;
  hadc.Init.DataAlign = ADC_DATAALIGN_RIGHT;
  hadc.Init.ScanConvMode = ADC_SCAN_DISABLE;
  hadc.Init.EOCSelection = ADC_EOC_SEQ_CONV;
  hadc.Init.LowPowerAutoWait = ADC_AUTOWAIT_DISABLE;
  hadc.Init.LowPowerAutoPowerOff = ADC_AUTOPOWEROFF_DISABLE;
  hadc.Init.ChannelsBank = ADC_CHANNELS_BANK_A;
  hadc.Init.ContinuousConvMode = DISABLE;
  hadc.Init.NbrOfConversion = 1;
  hadc.Init.DiscontinuousConvMode = DISABLE;
  hadc.Init.ExternalTrigConv = ADC_SOFTWARE_START;
  hadc.Init.ExternalTrigConvEdge = ADC_EXTERNALTRIGCONVEDGE_NONE;
  hadc.Init.DMAContinuousRequests = DISABLE;
  if (HAL_ADC_Init(&hadc) != HAL_OK)
  {
    Error_Handler();
  }
  /** Configure for the selected ADC regular channel its corresponding rank in the sequencer and its sample time.
  */
  sConfig.Channel = ADC_CHANNEL_4;
  sConfig.Rank = ADC_REGULAR_RANK_1;
  sConfig.SamplingTime = ADC_SAMPLETIME_4CYCLES;
  if (HAL_ADC_ConfigChannel(&hadc, &sConfig) != HAL_OK)
  {
    Error_Handler();
  }

}

static void MX_DAC_Init(void)
{

  DAC_ChannelConfTypeDef sConfig = {0};

  /** DAC Initialization
  */
  hdac.Instance = DAC;
  if (HAL_DAC_Init(&hdac) != HAL_OK)
  {
    Error_Handler();
  }
  /** DAC channel OUT2 config
  */
  sConfig.DAC_Trigger = DAC_TRIGGER_NONE;
  sConfig.DAC_OutputBuffer = DAC_OUTPUTBUFFER_ENABLE;
  if (HAL_DAC_ConfigChannel(&hdac, &sConfig, DAC_CHANNEL_2) != HAL_OK)
  {
    Error_Handler();
  }

}

static void MX_LCD_Init(void)
{

  hlcd.Instance = LCD;
  hlcd.Init.Prescaler = LCD_PRESCALER_1;
  hlcd.Init.Divider = LCD_DIVIDER_16;
  hlcd.Init.Duty = LCD_DUTY_1_4;
  hlcd.Init.Bias = LCD_BIAS_1_4;
  hlcd.Init.VoltageSource = LCD_VOLTAGESOURCE_INTERNAL;
  hlcd.Init.Contrast = LCD_CONTRASTLEVEL_0;
  hlcd.Init.DeadTime = LCD_DEADTIME_0;
  hlcd.Init.PulseOnDuration = LCD_PULSEONDURATION_0;
  hlcd.Init.MuxSegment = LCD_MUXSEGMENT_DISABLE;
  hlcd.Init.BlinkMode = LCD_BLINKMODE_OFF;
  hlcd.Init.BlinkFrequency = LCD_BLINKFREQUENCY_DIV8;
  if (HAL_LCD_Init(&hlcd) != HAL_OK)
  {
    Error_Handler();
  }

}

static void MX_TIM2_Init(void)
{

  TIM_ClockConfigTypeDef sClockSourceConfig = {0};
  TIM_MasterConfigTypeDef sMasterConfig = {0};

  htim2.Instance = TIM2;
  htim2.Init.Prescaler = 0;
  htim2.Init.CounterMode = TIM_COUNTERMODE_UP;
  htim2.Init.Period = 65535;
  htim2.Init.ClockDivision = TIM_CLOCKDIVISION_DIV1;
  htim2.Init.AutoReloadPreload = TIM_AUTORELOAD_PRELOAD_DISABLE;
  if (HAL_TIM_Base_Init(&htim2) != HAL_OK)
  {
    Error_Handler();
  }
  sClockSourceConfig.ClockSource = TIM_CLOCKSOURCE_INTERNAL;
  if (HAL_TIM_ConfigClockSource(&htim2, &sClockSourceConfig) != HAL_OK)
  {
    Error_Handler();
  }
  sMasterConfig.MasterOutputTrigger = TIM_TRGO_RESET;
  sMasterConfig.MasterSlaveMode = TIM_MASTERSLAVEMODE_DISABLE;
  if (HAL_TIMEx_MasterConfigSynchronization(&htim2, &sMasterConfig) != HAL_OK)
  {
    Error_Handler();
  }

}

static void MX_TIM3_Init(void)
{

  TIM_ClockConfigTypeDef sClockSourceConfig = {0};
  TIM_MasterConfigTypeDef sMasterConfig = {0};

  htim3.Instance = TIM3;
  htim3.Init.Prescaler = 0;
  htim3.Init.CounterMode = TIM_COUNTERMODE_UP;
  htim3.Init.Period = 65535;
  htim3.Init.ClockDivision = TIM_CLOCKDIVISION_DIV1;
  htim3.Init.AutoReloadPreload = TIM_AUTORELOAD_PRELOAD_DISABLE;
  if (HAL_TIM_Base_Init(&htim3) != HAL_OK)
  {
    Error_Handler();
  }
  sClockSourceConfig.ClockSource = TIM_CLOCKSOURCE_INTERNAL;
  if (HAL_TIM_ConfigClockSource(&htim3, &sClockSourceConfig) != HAL_OK)
  {
    Error_Handler();
  }
  sMasterConfig.MasterOutputTrigger = TIM_TRGO_RESET;
  sMasterConfig.MasterSlaveMode = TIM_MASTERSLAVEMODE_DISABLE;
  if (HAL_TIMEx_MasterConfigSynchronization(&htim3, &sMasterConfig) != HAL_OK)
  {
    Error_Handler();
  }

}

static void MX_TIM4_Init(void)
{

  TIM_ClockConfigTypeDef sClockSourceConfig = {0};
  TIM_MasterConfigTypeDef sMasterConfig = {0};

  htim4.Instance = TIM4;
  htim4.Init.Prescaler = 0;
  htim4.Init.CounterMode = TIM_COUNTERMODE_UP;
  htim4.Init.Period = 65535;
  htim4.Init.ClockDivision = TIM_CLOCKDIVISION_DIV1;
  htim4.Init.AutoReloadPreload = TIM_AUTORELOAD_PRELOAD_DISABLE;
  if (HAL_TIM_Base_Init(&htim4) != HAL_OK)
  {
    Error_Handler();
  }
  sClockSourceConfig.ClockSource = TIM_CLOCKSOURCE_INTERNAL;
  if (HAL_TIM_ConfigClockSource(&htim4, &sClockSourceConfig) != HAL_OK)
  {
    Error_Handler();
  }
  sMasterConfig.MasterOutputTrigger = TIM_TRGO_RESET;
  sMasterConfig.MasterSlaveMode = TIM_MASTERSLAVEMODE_DISABLE;
  if (HAL_TIMEx_MasterConfigSynchronization(&htim4, &sMasterConfig) != HAL_OK)
  {
    Error_Handler();
  }

}

static void MX_TS_Init(void)
{

}

static void MX_USART1_UART_Init(void)
{

  huart1.Instance = USART1;
  huart1.Init.BaudRate = 9600;
  huart1.Init.WordLength = UART_WORDLENGTH_8B;
  huart1.Init.StopBits = UART_STOPBITS_1;
  huart1.Init.Parity = UART_PARITY_NONE;
  huart1.Init.Mode = UART_MODE_TX_RX;
  huart1.Init.HwFlowCtl = UART_HWCONTROL_NONE;
  huart1.Init.OverSampling = UART_OVERSAMPLING_16;
  if (HAL_UART_Init(&huart1) != HAL_OK)
  {
    Error_Handler();
  }

}

static void MX_GPIO_Init(void)
{
  GPIO_InitTypeDef GPIO_InitStruct = {0};

  /* GPIO Ports Clock Enable */
  __HAL_RCC_GPIOC_CLK_ENABLE();
  __HAL_RCC_GPIOH_CLK_ENABLE();
  __HAL_RCC_GPIOA_CLK_ENABLE();
  __HAL_RCC_GPIOB_CLK_ENABLE();

  /*Configure GPIO pin : PH1 */
  GPIO_InitStruct.Pin = GPIO_PIN_1;
  GPIO_InitStruct.Mode = GPIO_MODE_INPUT;
  GPIO_InitStruct.Pull = GPIO_PULLUP;
  HAL_GPIO_Init(GPIOH, &GPIO_InitStruct);

  /*Configure GPIO pin : B1_Pin */
  GPIO_InitStruct.Pin = B1_Pin;
  GPIO_InitStruct.Mode = GPIO_MODE_EVT_RISING;
  GPIO_InitStruct.Pull = GPIO_NOPULL;
  HAL_GPIO_Init(B1_GPIO_Port, &GPIO_InitStruct);

  /*Configure GPIO pin : PB2 */
  GPIO_InitStruct.Pin = GPIO_PIN_2;
  GPIO_InitStruct.Mode = GPIO_MODE_INPUT;
  GPIO_InitStruct.Pull = GPIO_PULLUP;
  HAL_GPIO_Init(GPIOB, &GPIO_InitStruct);

  /*Configure GPIO pins : PA11 PA12 */
  GPIO_InitStruct.Pin = GPIO_PIN_11|GPIO_PIN_12;
  GPIO_InitStruct.Mode = GPIO_MODE_INPUT;
  GPIO_InitStruct.Pull = GPIO_PULLUP;
  HAL_GPIO_Init(GPIOA, &GPIO_InitStruct);

}

void Error_Handler(void)
{
}

/************************ (C) COPYRIGHT STMicroelectronics *****END OF FILE****/
